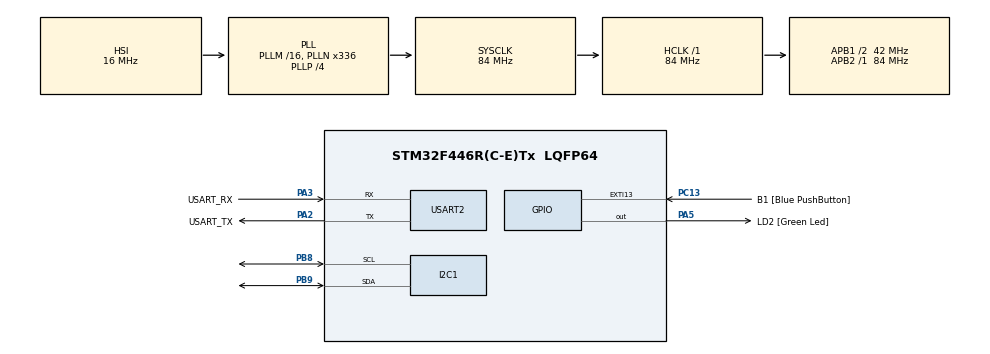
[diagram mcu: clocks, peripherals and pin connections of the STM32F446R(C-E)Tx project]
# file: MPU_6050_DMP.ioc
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Mcu.Family=STM32F4
Mcu.Name=STM32F446R(C-E)Tx
Mcu.Package=LQFP64
NVIC.PriorityGroup=NVIC_PRIORITYGROUP_0
PA13.GPIO_Label=TMS
PA13.Mode=Trace_Asynchronous_SW
PA13.Signal=SYS_JTMS-SWDIO
PA14.GPIO_Label=TCK
PA14.Mode=Trace_Asynchronous_SW
PA14.Signal=SYS_JTCK-SWCLK
PA2.GPIO_Label=USART_TX
PA2.Mode=Asynchronous
PA2.Signal=USART2_TX
PA3.GPIO_Label=USART_RX
PA3.Mode=Asynchronous
PA3.Signal=USART2_RX
PA5.GPIO_Label=LD2 [Green Led]
PA5.Signal=GPIO_Output
PB3.GPIO_Label=SWO
PB3.Mode=Trace_Asynchronous_SW
PB3.Signal=SYS_JTDO-SWO
PB8.Mode=I2C
PB8.Signal=I2C1_SCL
PB9.Mode=I2C
PB9.Signal=I2C1_SDA
PC13.GPIO_Label=B1 [Blue PushButton]
PC13.GPIO_ModeDefaultEXTI=GPIO_MODE_IT_FALLING
PC13.Signal=GPXTI13
PC14-OSC32_IN.Mode=LSE-External-Oscillator
PC14-OSC32_IN.Signal=RCC_OSC32_IN
PC15-OSC32_OUT.Mode=LSE-External-Oscillator
PC15-OSC32_OUT.Signal=RCC_OSC32_OUT
PH0-OSC_IN.Mode=HSE-External-Oscillator
PH0-OSC_IN.Signal=RCC_OSC_IN
PH1-OSC_OUT.Mode=HSE-External-Oscillator
PH1-OSC_OUT.Signal=RCC_OSC_OUT
ProjectManager.HeapSize=0x200
ProjectManager.StackSize=0x400
ProjectManager.TargetToolchain=STM32CubeIDE
RCC.48MHZClocksFreq_Value=84000000
RCC.AHBFreq_Value=84000000
RCC.APB1CLKDivider=RCC_HCLK_DIV2
RCC.APB1Freq_Value=42000000
RCC.APB1TimFreq_Value=84000000
RCC.APB2Freq_Value=84000000
RCC.APB2TimFreq_Value=84000000
RCC.CortexFreq_Value=84000000
RCC.FLatency-AdvancedSettings=FLASH_LATENCY_2
RCC.HCLKFreq_Value=84000000
RCC.HSE_VALUE=8000000
RCC.HSI_VALUE=16000000
RCC.PLLN=336
RCC.PLLP=RCC_PLLP_DIV4
RCC.SYSCLKFreq_VALUE=84000000
RCC.SYSCLKSource=RCC_SYSCLKSOURCE_PLLCLK
RCC.USBFreq_Value=168000000
RCC.VCOOutputFreq_Value=336000000
USART2.VirtualMode=VM_ASYNC
board=NUCLEO-F446RE

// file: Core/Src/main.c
/* USER CODE BEGIN Header */
/**
 ******************************************************************************
 * @file           : main.c
 * @brief          : Main program body
 ******************************************************************************
 * @attention
 *
 * Copyright (c) 2025 STMicroelectronics.
 * All rights reserved.
 *
 * This software is licensed under terms that can be found in the LICENSE file
 * in the root directory of this software component.
 * If no LICENSE file comes with this software, it is provided AS-IS.
 *
 ******************************************************************************
 */
/* USER CODE END Header */
#include "main.h"

/* USER CODE BEGIN Includes */
#include <MPU6050_6Axis_MotionApps612.h>
/* USER CODE END Includes */

I2C_HandleTypeDef hi2c1;

UART_HandleTypeDef huart2;

/* USER CODE BEGIN PV */
MPU6050_Base mpu;
bool dmpReady = false;     // set true if DMP init was successful
uint8_t mpuIntStatus;      // holds actual interrupt status byte from MPU
uint8_t devStatus; // return status after each device operation (0 = success, !0 = error)
uint16_t packetSize;       // expected DMP packet size (default is 42 bytes)
uint16_t fifoCount;        // count of all bytes currently in FIFO
uint8_t fifoBuffer[64];    // FIFO storage buffer
Quaternion q;              // [w, x, y, z]         quaternion container
float ypr[3];
VectorFloat v;

/* USER CODE END PV */

void SystemClock_Config(void);
static void MX_GPIO_Init(void);
static void MX_USART2_UART_Init(void);
static void MX_I2C1_Init(void);

/* USER CODE BEGIN 0 */
int _write(int file, char *ptr, int len)
{
	int DataIdx;
	for (DataIdx = 0; DataIdx < len; DataIdx++)
	{
		ITM_SendChar(*ptr++);
	}
	return len;
}

/* USER CODE END 0 */

int main(void)
{

	/* MCU Configuration--------------------------------------------------------*/

	/* Reset of all peripherals, Initializes the Flash interface and the Systick. */
	HAL_Init();

	/* Configure the system clock */
	SystemClock_Config();

	/* Initialize all configured peripherals */
	MX_GPIO_Init();
	MX_USART2_UART_Init();
	MX_I2C1_Init();
	/* USER CODE BEGIN 2 */
	printf("MPU6050 Started.\n\r");
	I2Cdev_init(&hi2c1);
	mpu.devAddr = MPU6050_ADDRESS_AD0_LOW;
	mpu.fifoTimeout = 0;
	initialize();
	printf("Testing device connections...\n\r");
	printf(
			(testConnection() ?
					("MPU6050 connection successful\n\r") :
					("MPU6050 connection failed\n\r")));
	devStatus = dmpInitialize();
	HAL_Delay(70);
	setXGyroOffset(51);
	setYGyroOffset(8);
	setZGyroOffset(21);
	setXAccelOffset(1150);
	setYAccelOffset(-50);
	setZAccelOffset(1060);
	HAL_Delay(80);

	printf("Offsets set. \n\r");
	if (devStatus == 0)
	{
		printf("DMP Firmware Uploaded. \n\r");
		CalibrateAccel(6);
		printf("Accel Calibration Done. \n\r");
		CalibrateGyro(6);
		printf("Calibration Done. \n\r");
		printf("\n\r");
		PrintActiveOffsets();
		// turn on the DMP, now that it's ready
		printf("Enabling DMP...\n\r");
		setDMPEnabled(true);
		dmpReady = true;
		packetSize = dmpGetFIFOPacketSize();
	}
	else
	{
		// ERROR!
		// 1 = initial memory load failed
		// 2 = DMP configuration updates failed
		// (if it's going to break, usually the code will be 1)
		printf("DMP Initialization failed (code %u)\n\r", devStatus);
	}

	/* USER CODE END 2 */

	/* Infinite loop */
	/* USER CODE BEGIN WHILE */
	while (1)
	{
		if (!dmpReady)
			break;
		if (dmpGetCurrentFIFOPacket(fifoBuffer))
		{    // Get the Latest packet
			// display quaternion values in easy matrix form: w x y z

			dmpGetQuaternion(&q, fifoBuffer);
			dmpGetEuler(ypr, &q);

//			printf("quat\t%f\t%f\t%f\t%f\n", q.w, q.x, q.y, q.z);
			printf("YPR\t%f\t%f\t%f\n", ypr[0], ypr[1], ypr[2]);

		}
//		HAL_Delay(100);
//		uint8_t i2c_address;
//		HAL_StatusTypeDef status;
//
//		printf("I2C Scanner Starting...\n");
//
//		for (i2c_address = 0x03; i2c_address <= 0x77; i2c_address++)
//		{
//			status = HAL_I2C_IsDeviceReady(&hi2c1, i2c_address << 1, 1, 10); // 1 attempt, 10ms timeout
//			if (status == HAL_OK)
//			{
//				printf("I2C device found at address 0x%02X\n", i2c_address);
//			}
//		}
//
//		printf("I2C Scanner Completed.\n");

		/* USER CODE END WHILE */

	}
}

void SystemClock_Config(void)
{
	RCC_OscInitTypeDef RCC_OscInitStruct = { 0 };
	RCC_ClkInitTypeDef RCC_ClkInitStruct = { 0 };

	/** Configure the main internal regulator output voltage
	 */
	__HAL_RCC_PWR_CLK_ENABLE();
	__HAL_PWR_VOLTAGESCALING_CONFIG(PWR_REGULATOR_VOLTAGE_SCALE3);

	/** Initializes the RCC Oscillators according to the specified parameters
	 * in the RCC_OscInitTypeDef structure.
	 */
	RCC_OscInitStruct.OscillatorType = RCC_OSCILLATORTYPE_HSI;
	RCC_OscInitStruct.HSIState = RCC_HSI_ON;
	RCC_OscInitStruct.HSICalibrationValue = RCC_HSICALIBRATION_DEFAULT;
	RCC_OscInitStruct.PLL.PLLState = RCC_PLL_ON;
	RCC_OscInitStruct.PLL.PLLSource = RCC_PLLSOURCE_HSI;
	RCC_OscInitStruct.PLL.PLLM = 16;
	RCC_OscInitStruct.PLL.PLLN = 336;
	RCC_OscInitStruct.PLL.PLLP = RCC_PLLP_DIV4;
	RCC_OscInitStruct.PLL.PLLQ = 2;
	RCC_OscInitStruct.PLL.PLLR = 2;
	if (HAL_RCC_OscConfig(&RCC_OscInitStruct) != HAL_OK)
	{
		Error_Handler();
	}

	/** Initializes the CPU, AHB and APB buses clocks
	 */
	RCC_ClkInitStruct.ClockType = RCC_CLOCKTYPE_HCLK | RCC_CLOCKTYPE_SYSCLK
			| RCC_CLOCKTYPE_PCLK1 | RCC_CLOCKTYPE_PCLK2;
	RCC_ClkInitStruct.SYSCLKSource = RCC_SYSCLKSOURCE_PLLCLK;
	RCC_ClkInitStruct.AHBCLKDivider = RCC_SYSCLK_DIV1;
	RCC_ClkInitStruct.APB1CLKDivider = RCC_HCLK_DIV2;
	RCC_ClkInitStruct.APB2CLKDivider = RCC_HCLK_DIV1;

	if (HAL_RCC_ClockConfig(&RCC_ClkInitStruct, FLASH_LATENCY_2) != HAL_OK)
	{
		Error_Handler();
	}
}

static void MX_I2C1_Init(void)
{

	hi2c1.Instance = I2C1;
	hi2c1.Init.ClockSpeed = 100000;
	hi2c1.Init.DutyCycle = I2C_DUTYCYCLE_2;
	hi2c1.Init.OwnAddress1 = 0;
	hi2c1.Init.AddressingMode = I2C_ADDRESSINGMODE_7BIT;
	hi2c1.Init.DualAddressMode = I2C_DUALADDRESS_DISABLE;
	hi2c1.Init.OwnAddress2 = 0;
	hi2c1.Init.GeneralCallMode = I2C_GENERALCALL_DISABLE;
	hi2c1.Init.NoStretchMode = I2C_NOSTRETCH_DISABLE;
	if (HAL_I2C_Init(&hi2c1) != HAL_OK)
	{
		Error_Handler();
	}

}

static void MX_USART2_UART_Init(void)
{

	huart2.Instance = USART2;
	huart2.Init.BaudRate = 115200;
	huart2.Init.WordLength = UART_WORDLENGTH_8B;
	huart2.Init.StopBits = UART_STOPBITS_1;
	huart2.Init.Parity = UART_PARITY_NONE;
	huart2.Init.Mode = UART_MODE_TX_RX;
	huart2.Init.HwFlowCtl = UART_HWCONTROL_NONE;
	huart2.Init.OverSampling = UART_OVERSAMPLING_16;
	if (HAL_UART_Init(&huart2) != HAL_OK)
	{
		Error_Handler();
	}

}

static void MX_GPIO_Init(void)
{
	GPIO_InitTypeDef GPIO_InitStruct = { 0 };

	/* GPIO Ports Clock Enable */
	__HAL_RCC_GPIOC_CLK_ENABLE();
	__HAL_RCC_GPIOH_CLK_ENABLE();
	__HAL_RCC_GPIOA_CLK_ENABLE();
	__HAL_RCC_GPIOB_CLK_ENABLE();

	/*Configure GPIO pin Output Level */
	HAL_GPIO_WritePin(LD2_GPIO_Port, LD2_Pin, GPIO_PIN_RESET);

	/*Configure GPIO pin : B1_Pin */
	GPIO_InitStruct.Pin = B1_Pin;
	GPIO_InitStruct.Mode = GPIO_MODE_IT_FALLING;
	GPIO_InitStruct.Pull = GPIO_NOPULL;
	HAL_GPIO_Init(B1_GPIO_Port, &GPIO_InitStruct);

	/*Configure GPIO pin : LD2_Pin */
	GPIO_InitStruct.Pin = LD2_Pin;
	GPIO_InitStruct.Mode = GPIO_MODE_OUTPUT_PP;
	GPIO_InitStruct.Pull = GPIO_NOPULL;
	GPIO_InitStruct.Speed = GPIO_SPEED_FREQ_LOW;
	HAL_GPIO_Init(LD2_GPIO_Port, &GPIO_InitStruct);

}

void Error_Handler(void)
{
	__disable_irq();
	while (1)
	{
	}
}
